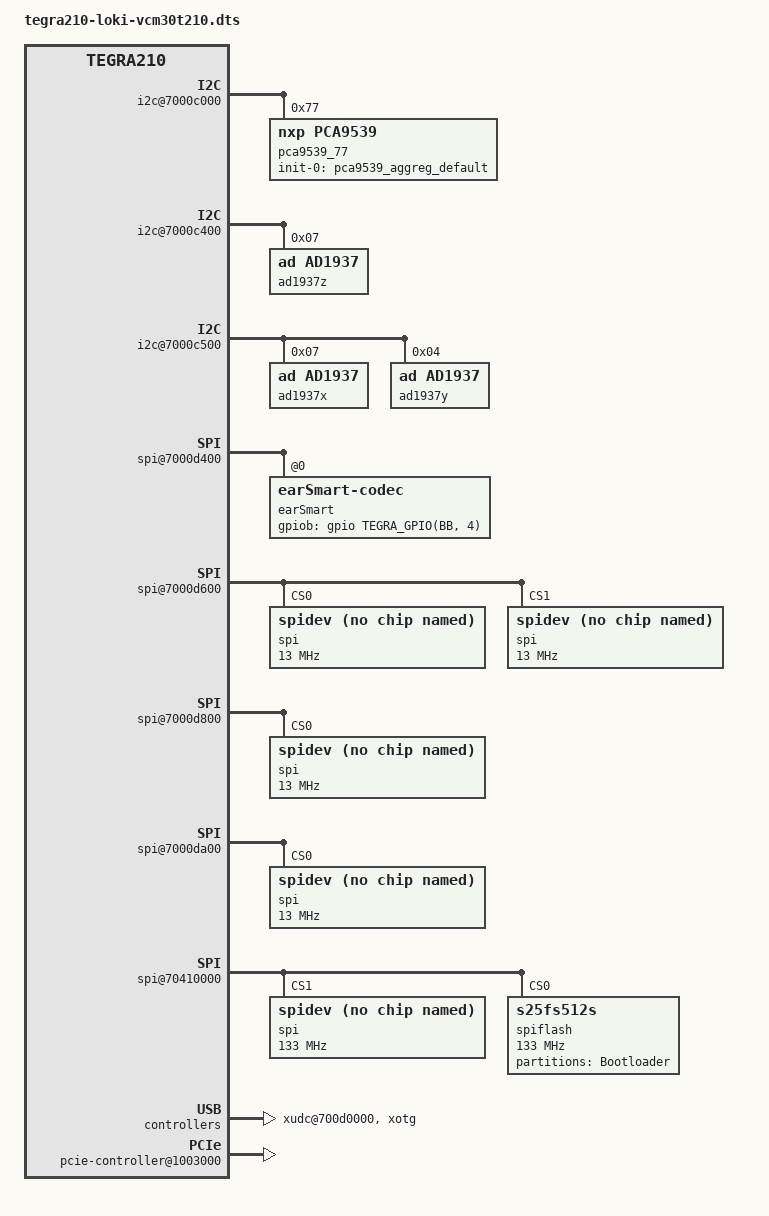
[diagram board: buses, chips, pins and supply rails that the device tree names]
/*
 * T210- DSC
 *
 * arch/arm64/boot/dts/tegra210-loki-vcm30t210.dts
 *
 * Copyright (c) 2014-2016, NVIDIA CORPORATION.  All rights reserved.
 *
 * This program is free software; you can redistribute it and/or modify
 * it under the terms of the GNU General Public License as published by
 * the Free Software Foundation; version 2 of the License.
 *
 * This program is distributed in the hope that it will be useful, but WITHOUT
 * ANY WARRANTY; without even the implied warranty of MERCHANTABILITY or
 * FITNESS FOR A PARTICULAR PURPOSE.  See the GNU General Public License for
 * more details.
 *
 * You should have received a copy of the GNU General Public License along
 * with this program; if not, write to the Free Software Foundation, Inc.,
 * 51 Franklin Street, Fifth Floor, Boston, MA  02110-1301, USA.
 *
 */

#include "tegra210-foster-e-e2581-0930-a01-00.dts"
#include "tegra210-platforms/tegra210-loki-e-gpio-e2581-0631-a01.dtsi"
#include <dt-bindings/sound/tegra-asoc-alt.h>

/ {
	nvidia,dtsfilename = __FILE__;
	nvidia,fastboot-usb-pid = <0x7100>;

	host1x {
		dc@54200000 {
			status = "okay";
			nvidia,dc-flags = <0>;
		};
	};

	regulators {
		usb_vbus1: regulator@14 {
			gpio = <&gpio TEGRA_GPIO(CC, 4) 1>;
		};

		usb_vbus2: regulator@15 {
			gpio = <&gpio TEGRA_GPIO(CC, 5) 1>;
		};
	};

	i2c@7000c000 {
		/* U17 of p1892 */
		pca9539_77: pca9546@77 {
			compatible = "nxp,pca9539";
			gpio-controller;
			#gpio-cells = <2>;
			reg = <0x77>;
			gpio-init-names = "aggreg_default";
			gpio-init-0 = <&pca9539_aggreg_default>;
			pca9539_aggreg_default: aggreg_default {
				gpio-output-low = <7 8>;
				gpio-output-high = <1>;
			};
		};
	};

	i2c@7000c400 {
		ad1937z: ad193x.1-0007@07 {
			compatible = "ad,ad1937";
			reg = <0x07>;
			status = "okay";
		};
	};

	i2c@7000c500 {
		ad1937x: ad193x.2-0007@07 {
			compatible = "ad,ad1937";
			reg = <0x07>;
			status = "okay";
		};
		ad1937y: ad193x.2-0004@04 {
			compatible = "ad,ad1937";
			reg = <0x04>;
			status = "okay";
		};
	};

	spi@7000d400 {
		earSmart: earSmart-codec@0 {
			adnc,gpiob-gpio = <&gpio TEGRA_GPIO(BB, 4) GPIO_ACTIVE_HIGH>;
		};
	};

	spi@7000d600 {
		status = "okay";
		spi@0 {
			compatible = "spidev";
			reg = <0>;
			spi-max-frequency = <13000000>;
		};
		spi@1 {
			compatible = "spidev";
			reg = <1>;
			spi-max-frequency = <13000000>;
		};
	};
	spi@7000d800 {
		compatible = "nvidia,tegra210-spi-slave";
		status = "okay";
		spi@0 {
			compatible = "spidev";
			reg = <0>;
			spi-max-frequency = <13000000>;
		};
	};

	spi@7000da00 {
		status = "okay";
		spi@0 {
			compatible = "spidev";
			reg = <0>;
			spi-max-frequency = <13000000>;
		};
	};

	spi@70410000 {
		status = "okay";
		spi@0 {
			compatible = "spidev";
			reg = <1>;
			spi-max-frequency = <133000000>;

			controller-data {
				nvidia,x1-len-limit = <16>;
				nvidia,x1-bus-speed = <133000000>; /* In Mhz */
				nvidia,x1-dymmy-cycle = <0>;
				nvidia,x4-bus-speed = <133000000>;
				nvidia,x4-dymmy-cycle = <8>;
				nvidia,ifddr-div2-sdr = <1>;
				nvidia,x4-is-ddr=<1>;
			};

		};

		spiflash@1 {
			#address-cells = <1>;
			#size-cells = <1>;
			compatible = "s25fs512s";
			reg = <0>;
			spi-max-frequency = <133000000>;
			partition@0 {
				label = "Bootloader";
				reg = <0x00000000 0x4000000>;
			};
			controller-data {
				nvidia,x1-len-limit = <16>;
				nvidia,x1-bus-speed = <133000000>; /* In Mhz */
				nvidia,x1-dymmy-cycle = <0>;
				nvidia,x4-bus-speed = <133000000>;
				nvidia,x4-dymmy-cycle = <8>;
				nvidia,ifddr-div2-sdr = <1>;
				nvidia,x4-is-ddr=<1>;
			};
		};

	};

	udc@7d000000 {
		status = "disabled";
	};

	otg@7d000000 {
		status = "disabled";
	};

	xudc@700d0000 {
		status = "okay";
	};

	xotg {
		status = "okay";
	};

	pinmux: pinmux@700008d4 {
		pinmux_unused_lowpower: unused_lowpower {

			qspi_io0_pee2 {
				nvidia,pins = "qspi_io0_pee2";
				nvidia,function = "qspi";
				nvidia,pull = <TEGRA_PIN_PULL_NONE>;
				nvidia,tristate = <TEGRA_PIN_DISABLE>;
				nvidia,enable-input = <TEGRA_PIN_ENABLE>;
			};

			qspi_io1_pee3 {
				nvidia,pins = "qspi_io1_pee3";
				nvidia,function = "qspi";
				nvidia,pull = <TEGRA_PIN_PULL_NONE>;
				nvidia,tristate = <TEGRA_PIN_DISABLE>;
				nvidia,enable-input = <TEGRA_PIN_ENABLE>;
			};

			qspi_sck_pee0 {
				nvidia,pins = "qspi_sck_pee0";
				nvidia,function = "qspi";
				nvidia,pull = <TEGRA_PIN_PULL_NONE>;
				nvidia,tristate = <TEGRA_PIN_DISABLE>;
				nvidia,enable-input = <TEGRA_PIN_ENABLE>;
			};

			qspi_cs_n_pee1 {
				nvidia,pins = "qspi_cs_n_pee1";
				nvidia,function = "qspi";
				nvidia,pull = <TEGRA_PIN_PULL_NONE>;
				nvidia,tristate = <TEGRA_PIN_DISABLE>;
				nvidia,enable-input = <TEGRA_PIN_ENABLE>;
			};

			qspi_io2_pee4 {
				nvidia,pins = "qspi_io2_pee4";
				nvidia,function = "qspi";
				nvidia,pull = <TEGRA_PIN_PULL_NONE>;
				nvidia,tristate = <TEGRA_PIN_DISABLE>;
				nvidia,enable-input = <TEGRA_PIN_ENABLE>;
			};

			qspi_io3_pee5 {
				nvidia,pins = "qspi_io3_pee5";
				nvidia,function = "qspi";
				nvidia,pull = <TEGRA_PIN_PULL_NONE>;
				nvidia,tristate = <TEGRA_PIN_DISABLE>;
				nvidia,enable-input = <TEGRA_PIN_ENABLE>;
			};

			spi2_miso_pb5 {
				nvidia,function = "spi2";
				nvidia,pull = <TEGRA_PIN_PULL_NONE>;
				nvidia,tristate = <TEGRA_PIN_DISABLE>;
				nvidia,enable-input = <TEGRA_PIN_ENABLE>;
			};

			spi2_sck_pb6 {
				nvidia,function = "spi2";
				nvidia,pull = <TEGRA_PIN_PULL_NONE>;
				nvidia,tristate = <TEGRA_PIN_DISABLE>;
				nvidia,enable-input = <TEGRA_PIN_DISABLE>;
			};

			spi2_cs0_pb7 {
				nvidia,function = "spi2";
				nvidia,pull = <TEGRA_PIN_PULL_NONE>;
				nvidia,tristate = <TEGRA_PIN_DISABLE>;
				nvidia,enable-input = <TEGRA_PIN_DISABLE>;
			};

			spi2_cs1_pdd0 {
				nvidia,function = "spi2";
				nvidia,pull = <TEGRA_PIN_PULL_NONE>;
				nvidia,tristate = <TEGRA_PIN_DISABLE>;
				nvidia,enable-input = <TEGRA_PIN_DISABLE>;
			};

			spi2_mosi_pb4 {
				nvidia,function = "spi2";
				nvidia,pull = <TEGRA_PIN_PULL_NONE>;
				nvidia,tristate = <TEGRA_PIN_DISABLE>;
				nvidia,enable-input = <TEGRA_PIN_DISABLE>;
			};

			ph6 {
				nvidia,pins = "ph6";
				nvidia,function = "rsvd1";
				nvidia,pull = <TEGRA_PIN_PULL_DOWN>;
				nvidia,tristate = <TEGRA_PIN_DISABLE>;
				nvidia,enable-input = <TEGRA_PIN_DISABLE>;
			};

			pex_l0_clkreq_n_pa1 {
				nvidia,pins = "pex_l0_clkreq_n_pa1";
				nvidia,function = "pe0";
				nvidia,pull = <TEGRA_PIN_PULL_NONE>;
				nvidia,tristate = <TEGRA_PIN_ENABLE>;
				nvidia,enable-input = <TEGRA_PIN_ENABLE>;
			};

			pex_l1_clkreq_n_pa4 {
				nvidia,pins = "pex_l1_clkreq_n_pa4";
				nvidia,function = "pe1";
				nvidia,pull = <TEGRA_PIN_PULL_NONE>;
				nvidia,tristate = <TEGRA_PIN_ENABLE>;
				nvidia,enable-input = <TEGRA_PIN_ENABLE>;
			};

			pex_l1_rst_n_pa3 {
				nvidia,pins = "pex_l1_rst_n_pa3";
				nvidia,function = "pe1";
				nvidia,pull = <TEGRA_PIN_PULL_NONE>;
				nvidia,tristate = <TEGRA_PIN_DISABLE>;
				nvidia,enable-input = <TEGRA_PIN_DISABLE>;
			};

			pex_wake_n_pa2 {
				nvidia,pins = "pex_wake_n_pa2";
				nvidia,function = "pe";
				nvidia,pull = <TEGRA_PIN_PULL_NONE>;
				nvidia,tristate = <TEGRA_PIN_DISABLE>;
				nvidia,enable-input = <TEGRA_PIN_ENABLE>;
			};

			dap4_din_pj5 {
				nvidia,pins = "dap4_din_pj5";
				nvidia,function = "i2s4b";
				nvidia,pull = <TEGRA_PIN_PULL_NONE>;
				nvidia,tristate = <TEGRA_PIN_DISABLE>;
				nvidia,enable-input = <TEGRA_PIN_ENABLE>;
			};

			dap4_dout_pj6 {
				nvidia,pins = "dap4_dout_pj6";
				nvidia,function = "i2s4b";
				nvidia,pull = <TEGRA_PIN_PULL_NONE>;
				nvidia,tristate = <TEGRA_PIN_DISABLE>;
				nvidia,enable-input = <TEGRA_PIN_ENABLE>;
			};

			dap4_fs_pj4 {
				nvidia,pins = "dap4_fs_pj4";
				nvidia,function = "i2s4b";
				nvidia,pull = <TEGRA_PIN_PULL_NONE>;
				nvidia,tristate = <TEGRA_PIN_DISABLE>;
				nvidia,enable-input = <TEGRA_PIN_ENABLE>;
			};

			dap4_sclk_pj7 {
				nvidia,pins = "dap4_sclk_pj7";
				nvidia,function = "i2s4b";
				nvidia,pull = <TEGRA_PIN_PULL_NONE>;
				nvidia,tristate = <TEGRA_PIN_DISABLE>;
				nvidia,enable-input = <TEGRA_PIN_ENABLE>;
			};
		};

		pinmux_default: common {
			usb_vbus_en0_pcc4 {
				nvidia,pins = "usb_vbus_en0_pcc4";
				nvidia,function = "usb";
				nvidia,pull = <TEGRA_PIN_PULL_UP>;
				nvidia,tristate = <TEGRA_PIN_DISABLE>;
				nvidia,enable-input = <TEGRA_PIN_DISABLE>;
				nvidia,open-drain = <TEGRA_PIN_DISABLE>;
				nvidia,io-high-voltage = <TEGRA_PIN_DISABLE>;
			};

			usb_vbus_en1_pcc5 {
				nvidia,pins = "usb_vbus_en1_pcc5";
				nvidia,function = "usb";
				nvidia,pull = <TEGRA_PIN_PULL_UP>;
				nvidia,tristate = <TEGRA_PIN_DISABLE>;
				nvidia,enable-input = <TEGRA_PIN_DISABLE>;
				nvidia,open-drain = <TEGRA_PIN_DISABLE>;
				nvidia,io-high-voltage = <TEGRA_PIN_DISABLE>;
			};

			pz0 {
				nvidia,pins = "pz0";
				nvidia,function = "rsvd2";
				nvidia,pull = <TEGRA_PIN_PULL_DOWN>;
				nvidia,tristate = <TEGRA_PIN_DISABLE>;
				nvidia,enable-input = <TEGRA_PIN_DISABLE>;
			};

			nfc_en_pi0 {
				nvidia,pins = "nfc_en_pi0";
				nvidia,function = "rsvd1";
				nvidia,pull = <TEGRA_PIN_PULL_DOWN>;
				nvidia,tristate = <TEGRA_PIN_DISABLE>;
				nvidia,enable-input = <TEGRA_PIN_DISABLE>;
			};

			pex_l0_rst_n_pa0 {
				nvidia,pins = "pex_l0_rst_n_pa0";
				nvidia,function = "pe0";
				nvidia,pull = <TEGRA_PIN_PULL_NONE>;
				nvidia,tristate = <TEGRA_PIN_DISABLE>;
				nvidia,enable-input = <TEGRA_PIN_DISABLE>;
			};

			gen3_i2c_scl_pf0 {
				nvidia,function = "rsvd1";
			};

			gen3_i2c_sda_pf1 {
				nvidia,function = "rsvd1";
			};

			cam_i2c_scl_ps2 {
				nvidia,function = "i2c3";
			};

			cam_i2c_sda_ps3 {
				nvidia,function = "i2c3";
			};
		};
	};

	/* enable I2S4_CYA bit to select i2s4b pin */
	ahub {
		i2s@702d1300 {
			enable-cya;
		};
	};

	sound_ref {
		compatible = "nvidia,tegra-audio-t210ref";
		nvidia,model = "tegra-snd-t210ref";
		nvidia,num-codec-link = <3>;
		nvidia,num-amx = <2>;
		nvidia,num-adx = <2>;
		nvidia,amx-slot-size = <32 32>;
		nvidia,adx-slot-size = <32 32>;
		nvidia,addr-max9485 = <112>;
		nvidia,amx-slot-map = <
			/* jack 0 */
			TDM_SLOT_MAP(0, 0, 0)
			TDM_SLOT_MAP(0, 0, 0)
			TDM_SLOT_MAP(0, 1, 0)
			TDM_SLOT_MAP(0, 1, 1)
			TDM_SLOT_MAP(0, 0, 0)
			TDM_SLOT_MAP(0, 0, 0)
			TDM_SLOT_MAP(0, 2, 0)
			TDM_SLOT_MAP(0, 2, 1)
			/* jack 1 */
			TDM_SLOT_MAP(0, 0, 0)
			TDM_SLOT_MAP(0, 0, 0)
			TDM_SLOT_MAP(1, 1, 0)
			TDM_SLOT_MAP(1, 1, 1)
			TDM_SLOT_MAP(0, 0, 0)
			TDM_SLOT_MAP(0, 0, 0)
			TDM_SLOT_MAP(1, 2, 0)
			TDM_SLOT_MAP(1, 2, 1)
			/* jack 2 */
			TDM_SLOT_MAP(0, 0, 0)
			TDM_SLOT_MAP(0, 0, 0)
			TDM_SLOT_MAP(2, 1, 0)
			TDM_SLOT_MAP(2, 1, 1)
			TDM_SLOT_MAP(0, 0, 0)
			TDM_SLOT_MAP(0, 0, 0)
			TDM_SLOT_MAP(2, 2, 0)
			TDM_SLOT_MAP(2, 2, 1)
			/* jack 3 */
			TDM_SLOT_MAP(0, 0, 0)
			TDM_SLOT_MAP(0, 0, 0)
			TDM_SLOT_MAP(3, 1, 0)
			TDM_SLOT_MAP(3, 1, 1)
			TDM_SLOT_MAP(0, 0, 0)
			TDM_SLOT_MAP(0, 0, 0)
			TDM_SLOT_MAP(3, 2, 0)
			TDM_SLOT_MAP(3, 2, 1)>;
		nvidia,adx-slot-map = <
			/* jack 0 */
			TDM_SLOT_MAP(0, 0, 0)
			TDM_SLOT_MAP(0, 0, 0)
			TDM_SLOT_MAP(0, 1, 0)
			TDM_SLOT_MAP(0, 1, 1)
			TDM_SLOT_MAP(0, 0, 0)
			TDM_SLOT_MAP(0, 0, 0)
			TDM_SLOT_MAP(0, 2, 0)
			TDM_SLOT_MAP(0, 2, 1)
			/* jack 1 */
			TDM_SLOT_MAP(0, 0, 0)
			TDM_SLOT_MAP(0, 0, 0)
			TDM_SLOT_MAP(1, 1, 0)
			TDM_SLOT_MAP(1, 1, 1)
			TDM_SLOT_MAP(0, 0, 0)
			TDM_SLOT_MAP(0, 0, 0)
			TDM_SLOT_MAP(1, 2, 0)
			TDM_SLOT_MAP(1, 2, 1)
			/* jack 2 */
			TDM_SLOT_MAP(0, 0, 0)
			TDM_SLOT_MAP(0, 0, 0)
			TDM_SLOT_MAP(2, 1, 0)
			TDM_SLOT_MAP(2, 1, 1)
			TDM_SLOT_MAP(0, 0, 0)
			TDM_SLOT_MAP(0, 0, 0)
			TDM_SLOT_MAP(2, 2, 0)
			TDM_SLOT_MAP(2, 2, 1)
			/* jack 3 */
			TDM_SLOT_MAP(0, 0, 0)
			TDM_SLOT_MAP(0, 0, 0)
			TDM_SLOT_MAP(3, 1, 0)
			TDM_SLOT_MAP(3, 1, 1)
			TDM_SLOT_MAP(0, 0, 0)
			TDM_SLOT_MAP(0, 0, 0)
			TDM_SLOT_MAP(3, 2, 0)
			TDM_SLOT_MAP(3, 2, 1)>;

		nvidia,audio-routing =
			"Headphone-x", 	"x DAC1OUT",
			"Headphone-x", 	"x DAC2OUT",
			"Headphone-x", 	"x DAC3OUT",
			"Headphone-x", 	"x DAC4OUT",
			"x ADC1IN",	"LineIn-x",
			"x ADC2IN",	"LineIn-x",

			"Headphone-y", 	"y DAC1OUT",
			"Headphone-y", 	"y DAC2OUT",
			"Headphone-y", 	"y DAC3OUT",
			"Headphone-y", 	"y DAC4OUT",
			"y ADC1IN",	"LineIn-y",
			"y ADC2IN",	"LineIn-y",

			"Headphone-z", 	"z DAC1OUT",
			"Headphone-z", 	"z DAC2OUT",
			"Headphone-z", 	"z DAC3OUT",
			"Headphone-z", 	"z DAC4OUT",
			"z ADC1IN",	"LineIn-z";

		nvidia,xbar = <&tegra_axbar>;

		nvidia,dai-link-1 {
			link-name = "ad-playback-z";
			cpu-dai = <&tegra_i2s4>;
			codec-dai = <&ad1937z>;
			cpu-dai-name = "I2S4";
			codec-dai-name = "ad193x-hifi";
			tx-mask = <0xFF>;
			rx-mask = <0xFF>;
			format = "dsp_a";
			bitclock-slave;
			frame-slave;
			bitclock-noninversion;
			frame-noninversion;
			bit-format = "s32_le";
			bclk_ratio = <1>;
			srate = <48000>;
			num-channel = <8>;
			name-prefix = "z";
		};
		nvidia,dai-link-2 {
			link-name = "ad-playback-x";
			cpu-dai = <&tegra_i2s3>;
			codec-dai = <&ad1937x>;
			cpu-dai-name = "I2S3";
			codec-dai-name = "ad193x-hifi";
			tx-mask = <0xFF>;
			rx-mask = <0xFF>;
			format = "dsp_a";
			bitclock-slave;
			frame-slave;
			bitclock-noninversion;
			frame-noninversion;
			bit-format = "s32_le";
			bclk_ratio = <1>;
			srate = <48000>;
			num-channel = <8>;
			name-prefix = "x";
		};
		nvidia,dai-link-3 {
			link-name = "ad-playback-y";
			cpu-dai = <&tegra_i2s5>;
			codec-dai = <&ad1937y>;
			cpu-dai-name = "I2S5";
			codec-dai-name = "ad193x-hifi";
			tx-mask = <0xFF>;
			rx-mask = <0xFF>;
			format = "dsp_a";
			bitclock-slave;
			frame-slave;
			bitclock-noninversion;
			frame-noninversion;
			bit-format = "s32_le";
			bclk_ratio = <1>;
			srate = <48000>;
			num-channel = <8>;
			name-prefix = "y";
		};
	};

	adsp_audio {
		compr-ops = <0>;
		num-plugin = <2>;
		plugin-info-1 {
			plugin-name = "reverb";
			firmware-name = "libnvreverbfx.elf";
			widget-name = "REVERB";
			param-type = <2>; /* SNDRV_CTL_ELEM_TYPE_INTEGER */
		};
		plugin-info-2 {
			plugin-name = "wire";
			firmware-name = "libnvwirefx.elf";
			widget-name = "WIRE";
		};
	};

	sdhci@700b0400 {
		cd-gpios = <&gpio TEGRA_GPIO_PZ2 0>;
		nvidia,sd-device;
	};

	pcie-controller@1003000 {
		nvidia,wake-gpio = <&gpio TEGRA_GPIO(A, 2) 0>;
		nvidia,lane-map = <0x14>;
		dvdd-pex-pll-supply = <&max77620_ldo1>;
		l0-dvddio-pex-supply = <&max77620_ldo1>;
		l1-dvddio-pex-supply = <&max77620_ldo1>;
		l2-dvddio-pex-supply = <&max77620_ldo1>;
		l3-dvddio-pex-supply = <&max77620_ldo1>;
		l4-dvddio-pex-supply = <&max77620_ldo1>;
		l5-dvddio-pex-supply = <&max77620_ldo1>;
		l6-dvddio-pex-supply = <&max77620_ldo1>;
		hvdd-pex-pll-e-supply = <&max77620_sd3>;
		l0-hvddio-pex-supply = <&max77620_sd3>;
		l1-hvddio-pex-supply = <&max77620_sd3>;
		l2-hvddio-pex-supply = <&max77620_sd3>;
		l3-hvddio-pex-supply = <&max77620_sd3>;
		l4-hvddio-pex-supply = <&max77620_sd3>;
		l5-hvddio-pex-supply = <&max77620_sd3>;
		l6-hvddio-pex-supply = <&max77620_sd3>;
		vddio-pex-ctl-supply = <&max77620_sd3>;
		status = "okay";
		pci@1,0 {
			status = "okay";
		};

		pci@2,0 {
			status = "okay";
		};
	};

	/* Disable XUSB3 to make PCIe both ports work */
	xusb_pad_ctl: xusb_padctl {
		nvidia,lane-map = <0x14>;
		nvidia,ss_ports = <TEGRA_XHCI_SS_P0 TEGRA_XHCI_USB2_P1 TEGRA_XHCI_LANE_6 TEGRA_XHCI_PORT_STD
				    TEGRA_XHCI_SS_P1 TEGRA_XHCI_USB2_P2 TEGRA_XHCI_LANE_5 TEGRA_XHCI_PORT_STD
				    TEGRA_XHCI_SS_P2 TEGRA_XHCI_USB2_P3 TEGRA_XHCI_UNUSED_LANE TEGRA_XHCI_PORT_STD
				    TEGRA_XHCI_SS_P3 TEGRA_XHCI_USB2_P0 TEGRA_XHCI_UNUSED_LANE TEGRA_XHCI_PORT_OTG >;
	};

	tegra-aotag {
		status = "disabled";
	};

	i2c@7000c400 {
		ina3221x@40 {
			status = "disabled";
		};
	};

	isc-mgr.0 {
		compatible = "nvidia,isc-mgr";
		i2c-bus = <1>;
		csi-port = <0>;
		/* default-power-on; */
		status = "okay";
	};

	isc-mgr.1 {
		compatible = "nvidia,isc-mgr";
		i2c-bus = <1>;
		csi-port = <2>;
		/* default-power-on; */
		status = "okay";
	};

	isc-mgr.2 {
		compatible = "nvidia,isc-mgr";
		i2c-bus = <1>;
		csi-port = <4>;
		/* default-power-on; */
		status = "okay";
	};
};
